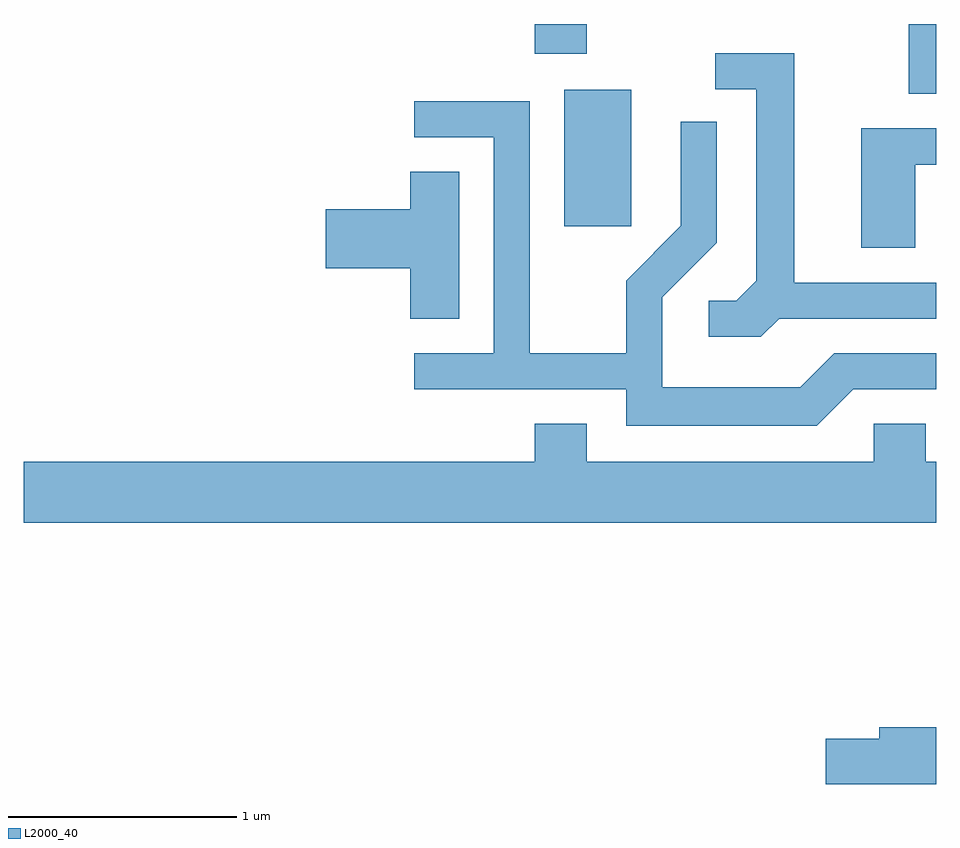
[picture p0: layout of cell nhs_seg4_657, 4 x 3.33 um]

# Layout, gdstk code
import gdstk
lib = gdstk.Library(unit=1e-6, precision=1e-09)
def R(c, l, rs):  # rectangles x0, y0, x1, y1
    for r in rs: c.add(gdstk.rectangle(r[:2], r[2:], *l))
def P(c, l, *ps):  # polygons
    for p in ps: c.add(gdstk.Polygon(p, *l))
L2000_40 = (2000, 40)

nhs_seg4_657 = lib.new_cell('nhs_seg4_657')
R(nhs_seg4_657, L2000_40, [(205.981,1347.096,206.274,1347.694), (207.491,1347.676,207.611,1347.982), (205.851,1347.851,206.079,1347.982)])
P(nhs_seg4_657, L2000_40, [(206.922,1346.691),(207.611,1346.691),(207.611,1346.849),(206.989,1346.849),(206.989,1347.854),(206.643,1347.854),(206.643,1347.696),(206.821,1347.696),(206.821,1346.857),(206.734,1346.769),(206.613,1346.769),(206.613,1346.611),(206.842,1346.611)],
  [(207.247,1346.381),(207.611,1346.381),(207.611,1346.539),(207.164,1346.539),(207.014,1346.389),(206.409,1346.389),(206.409,1346.784),(206.649,1347.024),(206.649,1347.553),(206.491,1347.553),(206.491,1347.097),(206.251,1346.857),(206.251,1346.539),(205.829,1346.539),(205.829,1347.644),(205.323,1347.644),(205.323,1347.486),(205.671,1347.486),(205.671,1346.539),(205.323,1346.539),(205.323,1346.381),(206.251,1346.381),(206.251,1346.221),(207.087,1346.221)],
  [(207.519,1347.366),(207.611,1347.366),(207.611,1347.524),(207.281,1347.524),(207.281,1347.001),(207.519,1347.001)],
  [(205.519,1347.334),(205.306,1347.334),(205.306,1347.169),(204.936,1347.169),(204.936,1346.911),(205.306,1346.911),(205.306,1346.691),(205.519,1346.691)],
  [(207.611,1346.064),(207.564,1346.064),(207.564,1346.229),(207.336,1346.229),(207.336,1346.064),(206.079,1346.064),(206.079,1346.229),(205.851,1346.229),(205.851,1346.064),(203.611,1346.064),(203.611,1345.796),(207.611,1345.796)],
  [(207.611,1344.899),(207.361,1344.899),(207.361,1344.849),(207.126,1344.849),(207.126,1344.651),(207.611,1344.651)])

lib.write_gds('nhs_seg4_657.gds')
